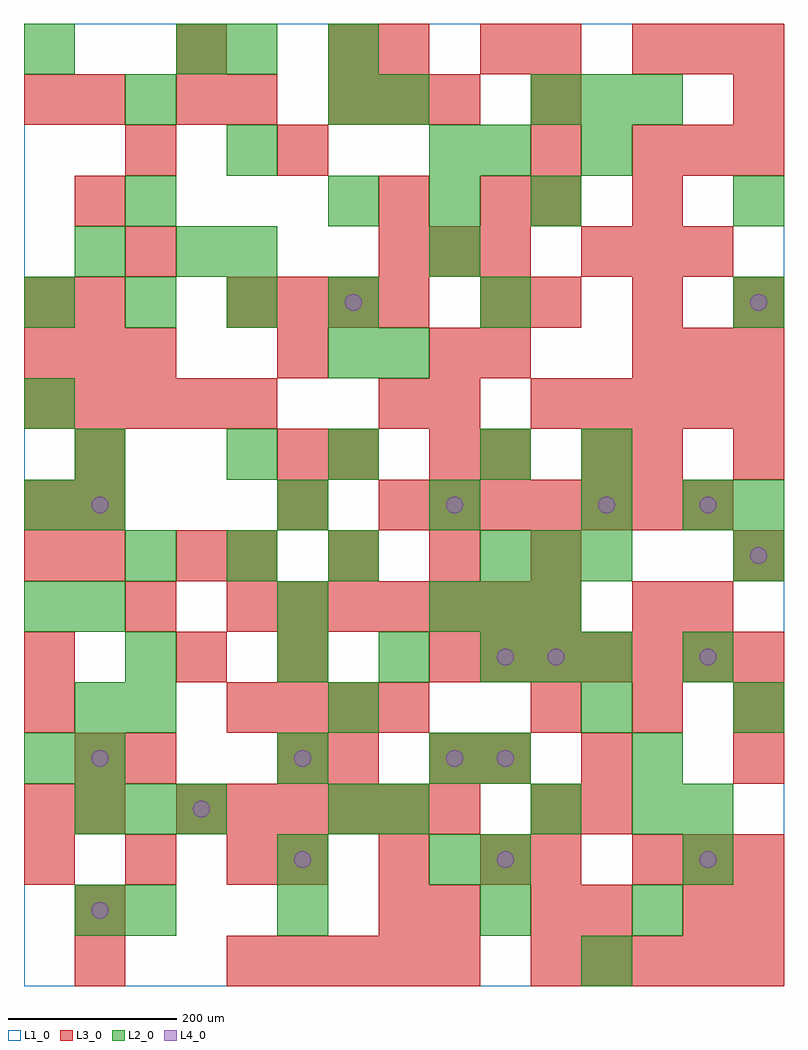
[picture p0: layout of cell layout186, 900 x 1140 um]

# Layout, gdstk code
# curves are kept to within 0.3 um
import gdstk
lib = gdstk.Library(unit=1e-6, precision=1e-09)
def R(c, l, rs):  # rectangles x0, y0, x1, y1
    for r in rs: c.add(gdstk.rectangle(r[:2], r[2:], *l))
def A(c, l, x, y, w, h, nx, ny, dx, dy):  # array of equal rectangles
    R(c, l, [(x+i*dx, y+j*dy, x+i*dx+w, y+j*dy+h) for i in range(nx) for j in range(ny)])
def P(c, l, *ps):  # polygons
    for p in ps: c.add(gdstk.Polygon(p, *l))
L1_0 = (1, 0)
L2_0 = (2, 0)
L3_0 = (3, 0)
L4_0 = (4, 0)

layout186 = lib.new_cell('layout186')
R(layout186, L1_0, [(0,0,900,1140)])
A(layout186, L2_0, 60, 180, 60, 60, 3, 1, 60, 0)
A(layout186, L2_0, 780, 180, 60, 60, 1, 3, 0, 180)
A(layout186, L2_0, 60, 300, 60, 60, 1, 3, 0, 120)
A(layout186, L2_0, 300, 360, 60, 60, 3, 1, 120, 0)
A(layout186, L2_0, 0, 420, 60, 60, 1, 3, 0, 120)
A(layout186, L2_0, 480, 420, 60, 60, 3, 1, 60, 0)
A(layout186, L2_0, 120, 480, 60, 60, 3, 1, 120, 0)
A(layout186, L2_0, 540, 480, 60, 60, 3, 1, 60, 0)
A(layout186, L2_0, 300, 540, 60, 60, 3, 1, 180, 0)
A(layout186, L2_0, 540, 600, 60, 60, 1, 3, 0, 180)
A(layout186, L2_0, 0, 780, 60, 60, 4, 1, 120, 0)
A(layout186, L2_0, 240, 840, 60, 60, 1, 3, 0, 120)
A(layout186, L2_0, 360, 900, 60, 60, 3, 1, 120, 0)
A(layout186, L2_0, 600, 1020, 60, 60, 3, 1, 60, 0)
R(layout186, L2_0, [(660,0,720,60), (60,60,120,120), (120,60,180,120), (300,60,360,120), (540,60,600,120), (720,60,780,120), (300,120,360,180), (480,120,540,180), (540,120,600,180), (780,120,840,180), (360,180,420,240), (420,180,480,240), (600,180,660,240), (720,180,780,240), (0,240,60,300), (60,240,120,300), (300,240,360,300), (480,240,540,300), (540,240,600,300), (720,240,780,300), (120,300,180,360), (360,300,420,360), (660,300,720,360), (840,300,900,360), (120,360,180,420), (600,360,660,420), (660,360,720,420), (300,420,360,480), (840,480,900,540), (840,540,900,600), (60,600,120,660), (240,600,300,660), (360,600,420,660), (660,600,720,660), (360,720,420,780), (420,720,480,780), (840,780,900,840), (60,840,120,900), (180,840,240,900), (480,840,540,900), (120,900,180,960), (840,900,900,960), (480,960,540,1020), (660,960,720,1020), (120,1020,180,1080), (360,1020,420,1080), (420,1020,480,1080), (0,1080,60,1140), (180,1080,240,1140), (360,1080,420,1140)])
A(layout186, L3_0, 240, 0, 60, 60, 5, 1, 60, 0)
A(layout186, L3_0, 600, 0, 60, 60, 5, 2, 60, 660)
A(layout186, L3_0, 600, 60, 60, 60, 1, 3, 0, 60)
A(layout186, L3_0, 0, 120, 60, 60, 3, 1, 120, 0)
A(layout186, L3_0, 300, 120, 60, 60, 3, 1, 120, 0)
A(layout186, L3_0, 720, 120, 60, 60, 3, 2, 60, 600)
A(layout186, L3_0, 180, 180, 60, 60, 6, 1, 60, 0)
A(layout186, L3_0, 240, 300, 60, 60, 4, 2, 60, 480)
A(layout186, L3_0, 600, 300, 60, 60, 3, 2, 120, 480)
A(layout186, L3_0, 480, 360, 60, 60, 7, 1, 60, 0)
A(layout186, L3_0, 240, 420, 60, 60, 7, 1, 60, 0)
A(layout186, L3_0, 60, 480, 60, 60, 1, 3, 0, 60)
A(layout186, L3_0, 240, 480, 60, 60, 4, 1, 120, 0)
A(layout186, L3_0, 0, 540, 60, 60, 1, 3, 0, 240)
A(layout186, L3_0, 420, 540, 60, 60, 7, 1, 60, 0)
A(layout186, L3_0, 480, 600, 60, 60, 1, 3, 0, 60)
A(layout186, L3_0, 0, 660, 60, 60, 5, 1, 60, 0)
A(layout186, L3_0, 0, 720, 60, 60, 3, 1, 60, 0)
A(layout186, L3_0, 60, 780, 60, 60, 1, 3, 0, 120)
A(layout186, L3_0, 420, 840, 60, 60, 3, 1, 60, 0)
A(layout186, L3_0, 660, 840, 60, 60, 3, 1, 60, 0)
A(layout186, L3_0, 600, 900, 60, 60, 1, 4, 0, 60)
A(layout186, L3_0, 720, 960, 60, 60, 3, 2, 60, 120)
A(layout186, L3_0, 360, 1020, 60, 60, 3, 1, 60, 0)
R(layout186, L3_0, [(60,0,120,60), (60,60,120,120), (420,60,480,120), (480,60,540,120), (660,60,720,120), (780,60,840,120), (840,60,900,120), (0,180,60,240), (60,180,120,240), (660,180,720,240), (60,240,120,300), (120,240,180,300), (300,240,360,300), (360,240,420,300), (480,240,540,300), (540,240,600,300), (660,240,720,300), (840,240,900,300), (0,300,60,360), (0,360,60,420), (180,360,240,420), (300,360,360,420), (120,420,180,480), (720,420,780,480), (780,420,840,480), (0,480,60,540), (180,480,240,540), (840,480,900,540), (300,540,360,600), (300,600,360,660), (360,600,420,660), (540,600,600,660), (660,600,720,660), (720,600,780,660), (840,600,900,660), (420,660,480,720), (300,720,360,780), (540,720,600,780), (540,780,600,840), (120,840,180,900), (420,900,480,960), (540,900,600,960), (720,900,780,960), (120,960,180,1020), (300,960,360,1020), (180,1020,240,1080), (240,1020,300,1080), (840,1020,900,1080), (180,1080,240,1140), (360,1080,420,1140), (420,1080,480,1140), (540,1080,600,1140)])
P(layout186, L4_0, [(100,90),(99.239,93.827),(97.071,97.071),(93.827,99.239),(90,100),(86.173,99.239),(82.929,97.071),(80.761,93.827),(80,90),(80.761,86.173),(82.929,82.929),(86.173,80.761),(90,80),(93.827,80.761),(97.071,82.929),(99.239,86.173)],
  [(100,270),(99.239,273.827),(97.071,277.071),(93.827,279.239),(90,280),(86.173,279.239),(82.929,277.071),(80.761,273.827),(80,270),(80.761,266.173),(82.929,262.929),(86.173,260.761),(90,260),(93.827,260.761),(97.071,262.929),(99.239,266.173)],
  [(100,570),(99.239,573.827),(97.071,577.071),(93.827,579.239),(90,580),(86.173,579.239),(82.929,577.071),(80.761,573.827),(80,570),(80.761,566.173),(82.929,562.929),(86.173,560.761),(90,560),(93.827,560.761),(97.071,562.929),(99.239,566.173)],
  [(220,210),(219.239,213.827),(217.071,217.071),(213.827,219.239),(210,220),(206.173,219.239),(202.929,217.071),(200.761,213.827),(200,210),(200.761,206.173),(202.929,202.929),(206.173,200.761),(210,200),(213.827,200.761),(217.071,202.929),(219.239,206.173)],
  [(340,150),(339.239,153.827),(337.071,157.071),(333.827,159.239),(330,160),(326.173,159.239),(322.929,157.071),(320.761,153.827),(320,150),(320.761,146.173),(322.929,142.929),(326.173,140.761),(330,140),(333.827,140.761),(337.071,142.929),(339.239,146.173)],
  [(340,270),(339.239,273.827),(337.071,277.071),(333.827,279.239),(330,280),(326.173,279.239),(322.929,277.071),(320.761,273.827),(320,270),(320.761,266.173),(322.929,262.929),(326.173,260.761),(330,260),(333.827,260.761),(337.071,262.929),(339.239,266.173)],
  [(400,810),(399.239,813.827),(397.071,817.071),(393.827,819.239),(390,820),(386.173,819.239),(382.929,817.071),(380.761,813.827),(380,810),(380.761,806.173),(382.929,802.929),(386.173,800.761),(390,800),(393.827,800.761),(397.071,802.929),(399.239,806.173)],
  [(520,270),(519.239,273.827),(517.071,277.071),(513.827,279.239),(510,280),(506.173,279.239),(502.929,277.071),(500.761,273.827),(500,270),(500.761,266.173),(502.929,262.929),(506.173,260.761),(510,260),(513.827,260.761),(517.071,262.929),(519.239,266.173)],
  [(520,570),(519.239,573.827),(517.071,577.071),(513.827,579.239),(510,580),(506.173,579.239),(502.929,577.071),(500.761,573.827),(500,570),(500.761,566.173),(502.929,562.929),(506.173,560.761),(510,560),(513.827,560.761),(517.071,562.929),(519.239,566.173)],
  [(580,150),(579.239,153.827),(577.071,157.071),(573.827,159.239),(570,160),(566.173,159.239),(562.929,157.071),(560.761,153.827),(560,150),(560.761,146.173),(562.929,142.929),(566.173,140.761),(570,140),(573.827,140.761),(577.071,142.929),(579.239,146.173)],
  [(580,270),(579.239,273.827),(577.071,277.071),(573.827,279.239),(570,280),(566.173,279.239),(562.929,277.071),(560.761,273.827),(560,270),(560.761,266.173),(562.929,262.929),(566.173,260.761),(570,260),(573.827,260.761),(577.071,262.929),(579.239,266.173)],
  [(580,390),(579.239,393.827),(577.071,397.071),(573.827,399.239),(570,400),(566.173,399.239),(562.929,397.071),(560.761,393.827),(560,390),(560.761,386.173),(562.929,382.929),(566.173,380.761),(570,380),(573.827,380.761),(577.071,382.929),(579.239,386.173)],
  [(640,390),(639.239,393.827),(637.071,397.071),(633.827,399.239),(630,400),(626.173,399.239),(622.929,397.071),(620.761,393.827),(620,390),(620.761,386.173),(622.929,382.929),(626.173,380.761),(630,380),(633.827,380.761),(637.071,382.929),(639.239,386.173)],
  [(700,570),(699.239,573.827),(697.071,577.071),(693.827,579.239),(690,580),(686.173,579.239),(682.929,577.071),(680.761,573.827),(680,570),(680.761,566.173),(682.929,562.929),(686.173,560.761),(690,560),(693.827,560.761),(697.071,562.929),(699.239,566.173)],
  [(820,150),(819.239,153.827),(817.071,157.071),(813.827,159.239),(810,160),(806.173,159.239),(802.929,157.071),(800.761,153.827),(800,150),(800.761,146.173),(802.929,142.929),(806.173,140.761),(810,140),(813.827,140.761),(817.071,142.929),(819.239,146.173)],
  [(820,390),(819.239,393.827),(817.071,397.071),(813.827,399.239),(810,400),(806.173,399.239),(802.929,397.071),(800.761,393.827),(800,390),(800.761,386.173),(802.929,382.929),(806.173,380.761),(810,380),(813.827,380.761),(817.071,382.929),(819.239,386.173)],
  [(820,570),(819.239,573.827),(817.071,577.071),(813.827,579.239),(810,580),(806.173,579.239),(802.929,577.071),(800.761,573.827),(800,570),(800.761,566.173),(802.929,562.929),(806.173,560.761),(810,560),(813.827,560.761),(817.071,562.929),(819.239,566.173)],
  [(880,510),(879.239,513.827),(877.071,517.071),(873.827,519.239),(870,520),(866.173,519.239),(862.929,517.071),(860.761,513.827),(860,510),(860.761,506.173),(862.929,502.929),(866.173,500.761),(870,500),(873.827,500.761),(877.071,502.929),(879.239,506.173)],
  [(880,810),(879.239,813.827),(877.071,817.071),(873.827,819.239),(870,820),(866.173,819.239),(862.929,817.071),(860.761,813.827),(860,810),(860.761,806.173),(862.929,802.929),(866.173,800.761),(870,800),(873.827,800.761),(877.071,802.929),(879.239,806.173)])

lib.write_gds('layout186.gds')
